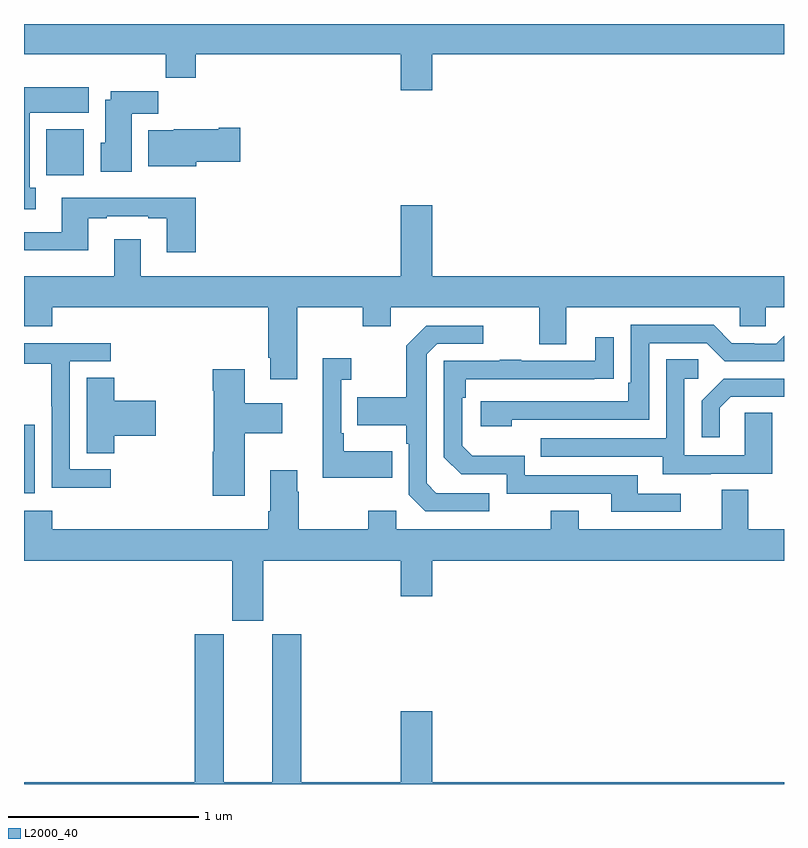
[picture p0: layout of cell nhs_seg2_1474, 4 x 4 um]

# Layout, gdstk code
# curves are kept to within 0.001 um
import gdstk
lib = gdstk.Library(unit=1e-6, precision=1e-09)
def R(c, l, rs):  # rectangles x0, y0, x1, y1
    for r in rs: c.add(gdstk.rectangle(r[:2], r[2:], *l))
def P(c, l, *ps):  # polygons
    for p in ps: c.add(gdstk.Polygon(p, *l))
L2000_40 = (2000, 40)

nhs_seg2_1474 = lib.new_cell('nhs_seg2_1474')
R(nhs_seg2_1474, L2000_40, [(187,641.33,187.057,641.691), (187.118,643.004,187.315,643.246)])
P(nhs_seg2_1474, L2000_40, [(189.148,643.64),(191,643.64),(191,643.8),(187,643.8),(187,643.64),(187.747,643.64),(187.747,643.516),(187.904,643.516),(187.904,643.64),(188.984,643.64),(188.984,643.452),(189.148,643.452)],
  [(187.063,642.938),(187.03,642.938),(187.03,643.334),(187.342,643.334),(187.342,643.468),(187,643.468),(187,642.825),(187.063,642.825)],
  [(187.567,643.328),(187.706,643.328),(187.706,643.447),(187.457,643.447),(187.457,643.402),(187.427,643.402),(187.427,643.176),(187.403,643.176),(187.403,643.022),(187.567,643.022)],
  [(187.906,643.076),(188.137,643.076),(188.137,643.254),(188.024,643.254),(188.024,643.246),(187.788,643.246),(187.788,643.24),(187.655,643.24),(187.655,643.052),(187.906,643.052)],
  [(187.904,642.886),(187.199,642.886),(187.199,642.705),(187,642.705),(187,642.608),(187.339,642.608),(187.339,642.777),(187.435,642.777),(187.435,642.789),(187.655,642.789),(187.655,642.777),(187.751,642.777),(187.751,642.6),(187.904,642.6)],
  [(188.437,642.308),(188.782,642.308),(188.782,642.209),(188.929,642.209),(188.929,642.308),(189.713,642.308),(189.713,642.114),(189.853,642.114),(189.853,642.308),(190.767,642.308),(190.767,642.21),(190.905,642.21),(190.905,642.308),(191,642.308),(191,642.472),(189.148,642.472),(189.148,642.847),(188.984,642.847),(188.984,642.472),(187.615,642.472),(187.615,642.667),(187.475,642.667),(187.475,642.472),(187,642.472),(187,642.209),(187.148,642.209),(187.148,642.308),(188.285,642.308),(188.285,642.043),(188.297,642.043),(188.297,641.931),(188.437,641.931)],
  [(189.566,641.718),(190.29,641.718),(190.29,642.12),(190.593,642.12),(190.689,642.024),(191,642.024),(191,642.158),(190.959,642.117),(190.844,642.117),(190.844,642.12),(190.725,642.12),(190.629,642.216),(190.194,642.216),(190.194,641.911),(190.181,641.911),(190.181,641.814),(189.405,641.814),(189.405,641.684),(189.566,641.684)],
  [(189.448,641.331),(189.171,641.331),(189.12,641.382),(189.12,642.063),(189.174,642.117),(189.418,642.117),(189.418,642.213),(189.117,642.213),(189.012,642.107),(189.012,641.835),(188.755,641.835),(188.755,641.687),(189.012,641.687),(189.012,641.591),(189.024,641.591),(189.024,641.322),(189.111,641.235),(189.448,641.235)],
  [(190.456,641.328),(190.231,641.328),(190.231,641.424),(189.636,641.424),(189.636,641.527),(189.359,641.527),(189.306,641.58),(189.306,641.834),(189.326,641.834),(189.326,641.931),(190.103,641.932),(190.103,642.151),(190.007,642.151),(190.007,642.027),(189.617,642.027),(189.617,642.032),(189.505,642.032),(189.505,642.027),(189.21,642.027),(189.21,641.52),(189.3,641.43),(189.54,641.43),(189.54,641.328),(190.091,641.328),(190.091,641.232),(190.456,641.232)],
  [(187.456,641.457),(187.242,641.457),(187.242,642.024),(187.456,642.024),(187.456,642.12),(187,642.12),(187,642.012),(187.144,642.012),(187.144,641.788),(187.146,641.788),(187.146,641.359),(187.456,641.359)],
  [(188.939,641.551),(188.683,641.551),(188.683,641.647),(188.67,641.647),(188.67,641.927),(188.722,641.927),(188.722,642.04),(188.573,642.04),(188.573,641.411),(188.939,641.411)],
  [(190.615,641.433),(190.939,641.433),(190.939,641.753),(190.794,641.753),(190.794,641.529),(190.476,641.529),(190.476,641.934),(190.549,641.934),(190.549,642.035),(190.38,642.035),(190.38,641.619),(189.721,641.619),(189.721,641.523),(190.361,641.523),(190.361,641.429),(190.615,641.429)],
  [(188.161,641.645),(188.359,641.645),(188.359,641.803),(188.161,641.803),(188.161,641.983),(187.994,641.983),(187.994,641.87),(187.999,641.87),(187.999,641.549),(187.994,641.549),(187.994,641.316),(188.161,641.316)],
  [(187.475,641.633),(187.693,641.633),(187.693,641.816),(187.475,641.816),(187.475,641.939),(187.331,641.939),(187.331,641.542),(187.475,641.542)],
  [(190.663,641.781),(190.72,641.838),(191,641.838),(191,641.934),(190.682,641.934),(190.566,641.818),(190.566,641.625),(190.663,641.625)],
  [(188.984,640.788),(189.148,640.788),(189.148,640.976),(191,640.976),(191,641.14),(190.813,641.14),(190.813,641.348),(190.673,641.348),(190.673,641.14),(189.919,641.14),(189.919,641.239),(189.772,641.239),(189.772,641.14),(188.958,641.14),(188.958,641.239),(188.812,641.239),(188.812,641.14),(188.445,641.14),(188.445,641.339),(188.437,641.339),(188.437,641.452),(188.297,641.452),(188.297,641.236),(188.285,641.236),(188.285,641.14),(187.148,641.14),(187.148,641.239),(187,641.239),(187,640.976),(188.096,640.976),(188.096,640.659),(188.26,640.659),(188.26,640.976),(188.984,640.976)],
  [(191,639.808),(189.148,639.808),(189.148,640.183),(188.984,640.183),(188.984,639.808),(188.459,639.808),(188.459,640.587),(188.306,640.587),(188.306,639.808),(188.05,639.808),(188.05,640.587),(187.898,640.587),(187.898,639.808),(187,639.808),(187,639.8),(191,639.8)])

lib.write_gds('nhs_seg2_1474.gds')
